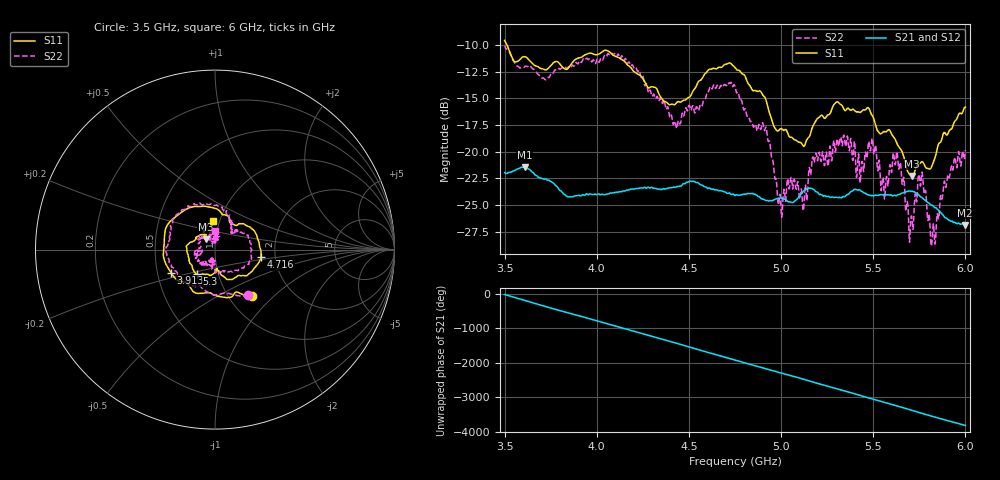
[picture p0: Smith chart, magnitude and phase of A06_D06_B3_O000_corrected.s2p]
! Created with skrf 1.9.0 (http://scikit-rf.org).
# Hz S RI R 50.0
!freq ReS11 ImS11 ReS21 ImS21 ReS12 ImS12 ReS22 ImS22
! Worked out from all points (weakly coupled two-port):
!   1601 points, 3.5 GHz to 6 GHz, reference 50 ohm
!   highest |S21| = -21.43 dB at 3.609 GHz (marker M1); lowest = -26.9 dB at 5.995 GHz (marker M2)
!   lowest |S11| = -22.3 dB at 5.709 GHz (marker M3), VSWR 1.17, Z = 44.9 + j5.25 ohm
!   |S11| at or under -10 dB: 3.513 GHz to end of sweep
!   |S22| runs from -28.9 to -10.0 dB; largest |S21 - S12| = 0.0009
!   S11 on the Smith chart (normalised r, x): 3.5 GHz: 1.28, -0.75; 3.913 GHz: 0.59, -0.17; 4.716 GHz: 1.68, -0.15; 5.3 GHz: 0.79, -0.22; 6 GHz: 0.93, +0.31
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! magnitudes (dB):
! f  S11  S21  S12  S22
! 3.5 GHz  -9.6  -22.0  -22.0  -10.0
! 3.609 GHz  -11.1  -21.4  -21.4  -12.0
! 3.913 GHz  -11.2  -24.1  -24.1  -11.6
! 3.917 GHz  -11.1  -24.1  -24.1  -11.6
! 4.127 GHz  -11.2  -23.7  -23.7  -11.3
! 4.334 GHz  -14.5  -23.5  -23.5  -15.2
! 4.442 GHz  -15.3  -23.3  -23.2  -17.1
! 4.716 GHz  -11.7  -23.9  -23.9  -13.6
! 4.75 GHz  -12.1  -24.1  -24.0  -13.9
! 4.911 GHz  -14.9  -24.5  -24.5  -18.0
! 4.995 GHz  -17.9  -24.4  -24.3  -24.1
! 5.13 GHz  -19.4  -23.6  -23.6  -23.3
! 5.167 GHz  -17.9  -23.5  -23.4  -21.0
! 5.3 GHz  -15.4  -24.3  -24.2  -19.3
! 5.584 GHz  -17.9  -24.0  -24.0  -22.4
! 5.638 GHz  -19.5  -24.0  -24.0  -21.6
! 5.709 GHz  -22.3  -23.7  -23.6  -26.1
! 5.756 GHz  -21.1  -24.2  -24.1  -23.2
! 5.827 GHz  -21.0  -25.1  -25.1  -26.8
! 5.894 GHz  -18.4  -26.2  -26.1  -23.4
! 5.995 GHz  -15.9  -26.9  -26.8  -20.6
! 6 GHz  -15.8  -26.9  -26.8  -19.8
